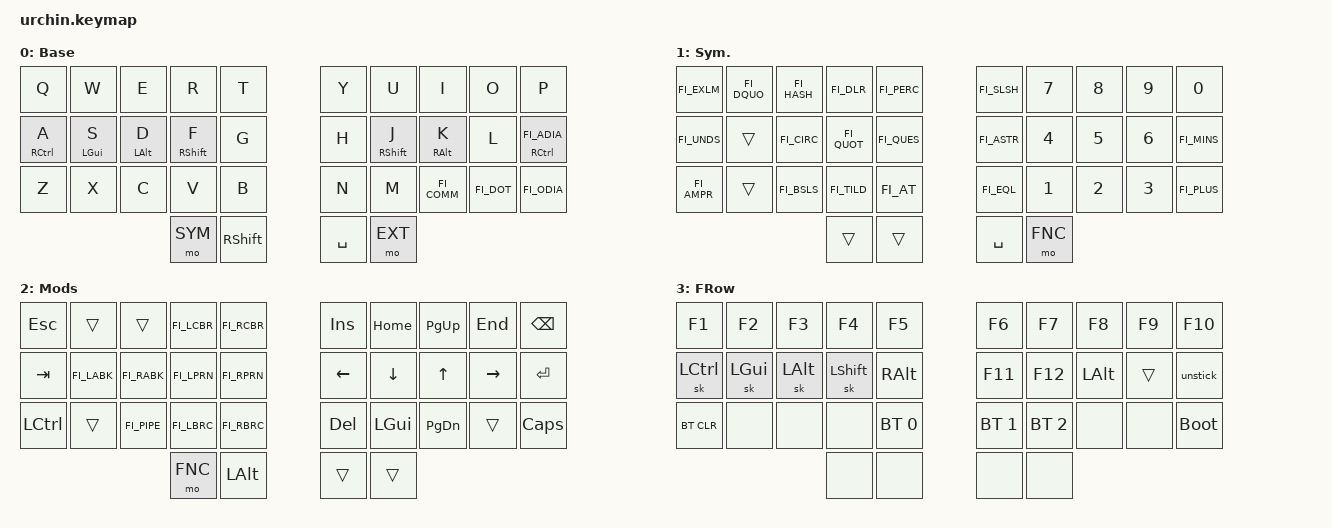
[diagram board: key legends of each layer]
/*
 * Copyright (c) 2020 duckyb
 *
 * SPDX-License-Identifier: MIT
 */

#include <behaviors.dtsi>
#include <dt-bindings/zmk/keys.h>
#include <dt-bindings/zmk/bt.h>
#include <dt-bindings/zmk/outputs.h>
#include "keymap_finnish.h"
#include "keypos_34keys.h" 

// Layer definitions
#define BASE 0
#define SYM 1
#define EXT 2
#define FNC 3

// -----------------
#define KEYS_L LT0 LT1 LT2 LT3 LT4 LM0 LM1 LM2 LM3 LM4 LB0 LB1 LB2 LB3 LB4  // left-hand keys
#define KEYS_R RT0 RT1 RT2 RT3 RT4 RM0 RM1 RM2 RM3 RM4 RB0 RB1 RB2 RB3 RB4  // right-hand keys
#define THUMBS LH2 LH1 LH0 RH0 RH1 RH2                                      // thumb keys

&sk {
	// don't release mods on other mods presses
	ignore-modifiers;
};

&mt {
    tapping_term_ms = <200>;
    quick_tap_ms = <200>;
};



/{
	behaviors {
    
        hml: homerowLeft {
            compatible = "zmk,behavior-hold-tap";
            #binding-cells = <2>;
            flavor = "balanced";
			tapping-term-ms = <280>;
			quick-tap-ms = <175>;
            require-prior-idle-ms = <10>;
			bindings = <&kp>, <&kp>;
            hold-trigger-key-positions = <5 6 7 8 9 15 16 17 18 19 25 26 27 28 29 30 31 32 33>;
            hold-trigger-on-release;
          
        };

        hmr: homerowRight {
            compatible = "zmk,behavior-hold-tap";
            #binding-cells = <2>;
            flavor = "balanced";
			tapping-term-ms = <280>;
			quick-tap-ms = <175>;
            require-prior-idle-ms = <10>;
			bindings = <&kp>, <&kp>;
            hold-trigger-key-positions = <0 1 2 3 4 10 11 12 13 14 20 21 22 23 24 30 31 32 33>;
            hold-trigger-on-release;
          
        };
	};

	macros {
		// sometimes my device thinks a modifier is being held down
		// pressing all modifiers fixes it.
		unstick: unstick {
			label = "ZM_unstick";
			compatible = "zmk,behavior-macro";
			#binding-cells = <0>;
			bindings = <&kp LSHIFT &kp RSHIFT &kp LCTRL &kp RCTRL &kp LALT &kp RALT &kp LGUI &kp RGUI>;
		};
	};
    
    combos {
        compatible = "zmk,combos";
        combo_caps {
            timeout-ms = <50>;
            key-positions = <LT0 RT0>;
            bindings = <&caps_word>;
        };

    };

// for some reason left ctrl and shift break after a while on the pc (happens on normal keyboard aswell)
// TODO: figure out the real reason
	keymap {
		compatible = "zmk,keymap";
		// Base alpha layer
		default_layer {
			label = "Base";
			bindings = <
			&kp Q &kp W &kp E &kp R &kp T                       &kp Y &kp U  &kp I     &kp O   &kp P 
			&hml RCTRL A &hml LGUI S &hml LALT D &hml RSHIFT F &kp G     &kp H &hmr RSHIFT J  &hmr RALT K &kp L &hmr RCTRL FI_ADIA
			&kp Z &kp X &kp C &kp V &kp B                       &kp N &kp M  &kp FI_COMM &kp FI_DOT &kp FI_ODIA
            &mo SYM &kp RSHIFT                    &kp SPACE &mo EXT
			>;
		};

		// Numbers and high frequency symbols
		sym_layer {
			label = "Sym.";
			bindings = <
			&kp FI_EXLM &kp FI_DQUO &kp FI_HASH &kp FI_DLR &kp FI_PERC	    &kp FI_SLSH &kp N7 &kp N8 &kp N9 &kp N0 
			&kp FI_UNDS &trans &kp FI_CIRC &kp FI_QUOT &kp FI_QUES     &kp FI_ASTR &kp N4 &kp N5 &kp N6 &kp FI_MINS
			&kp FI_AMPR &trans &kp FI_BSLS &kp FI_TILD  &kp FI_AT    &kp FI_EQL &kp N1 &kp N2 &kp N3 &kp FI_PLUS
														&trans &trans       &kp SPACE &mo FNC
			>;
		};

		// Main modifiers and arrow keys
		ext_layer {
			label = "Mods";
			bindings = <
			&kp ESC  &trans &trans  &kp FI_LCBR  &kp FI_RCBR    	    &kp INS  &kp HOME &kp PG_UP &kp END &kp BSPC
            &kp TAB &kp FI_LABK  &kp FI_RABK  &kp FI_LPRN  &kp FI_RPRN 	&kp LEFT &kp DOWN  &kp UP  &kp RIGHT   &kp ENTER
			&kp LCTRL  &trans &kp FI_PIPE &kp FI_LBRC   &kp FI_RBRC     &kp DEL &kp LGUI &kp PG_DN &trans  &kp CAPS
												&mo FNC &kp LALT        &trans &trans 
			>;
		};

		// Function keys with modifiers
		fnc_layer {
			label = "FRow";
			bindings = <
			&kp F1 &kp F2 &kp F3 &kp F4 &kp F5                  &kp F6 &kp F7 &kp F8 &kp F9 &kp F10 
			&sk LCTRL &sk LGUI &sk LALT &sk LSHIFT &kp RALT     &kp F11 &kp F12  &kp LALT &trans &unstick
			&bt BT_CLR &none &none &none &bt BT_SEL 0				    &bt BT_SEL 1 &bt BT_SEL 2 &none &none &bootloader 
							  &none &none                       &none &none  
			>;
		};
	};
};
